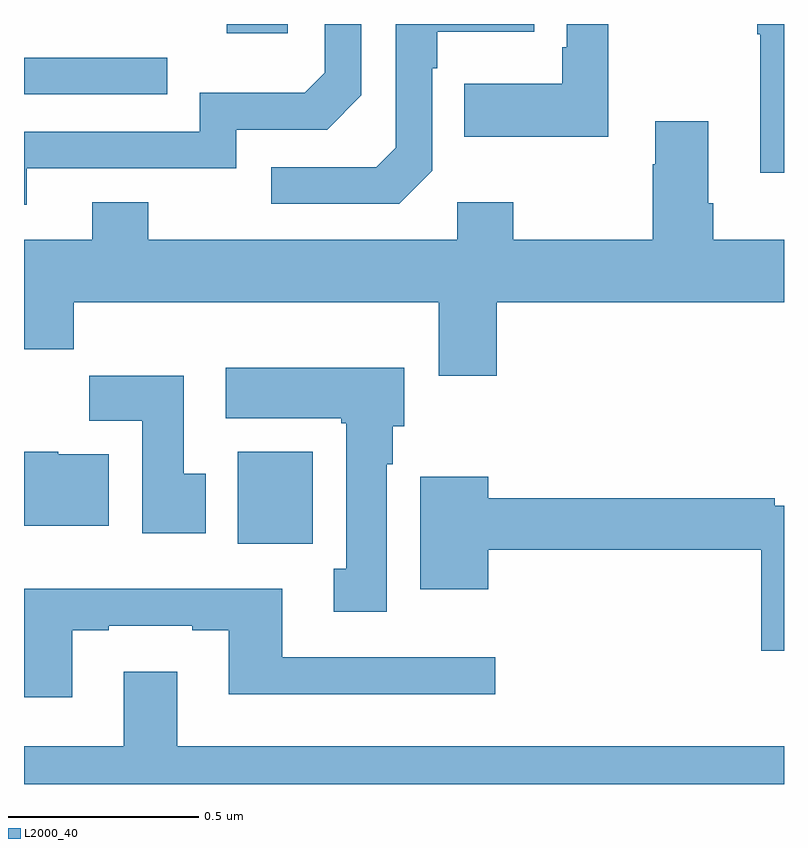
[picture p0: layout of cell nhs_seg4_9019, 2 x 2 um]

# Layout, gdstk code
import gdstk
lib = gdstk.Library(unit=1e-6, precision=1e-09)
def R(c, l, rs):  # rectangles x0, y0, x1, y1
    for r in rs: c.add(gdstk.rectangle(r[:2], r[2:], *l))
def P(c, l, *ps):  # polygons
    for p in ps: c.add(gdstk.Polygon(p, *l))
L2000_40 = (2000, 40)

nhs_seg4_9019 = lib.new_cell('nhs_seg4_9019')
R(nhs_seg4_9019, L2000_40, [(222.563,781.532,222.76,781.774), (222,782.715,222.377,782.811), (222.533,782.876,222.694,782.9)])
P(nhs_seg4_9019, L2000_40, [(222.007,782.52),(222.558,782.52),(222.558,782.622),(222.798,782.622),(222.888,782.712),(222.888,782.9),(222.792,782.9),(222.792,782.772),(222.739,782.719),(222.462,782.719),(222.462,782.616),(222,782.616),(222,782.424),(222.007,782.424)],
  [(223.537,782.9),(223.428,782.9),(223.428,782.839),(223.416,782.839),(223.416,782.743),(223.159,782.743),(223.159,782.603),(223.537,782.603)],
  [(224,782.9),(223.93,782.9),(223.93,782.873),(223.937,782.873),(223.937,782.508),(224,782.508)],
  [(223.074,782.514),(223.074,782.783),(223.087,782.783),(223.087,782.879),(223.343,782.879),(223.343,782.9),(222.978,782.9),(222.978,782.574),(222.927,782.523),(222.651,782.523),(222.651,782.427),(222.987,782.427)],
  [(223.244,782.168),(224,782.168),(224,782.332),(223.814,782.332),(223.814,782.428),(223.801,782.428),(223.801,782.644),(223.661,782.644),(223.661,782.531),(223.654,782.531),(223.654,782.332),(223.287,782.332),(223.287,782.431),(223.14,782.431),(223.14,782.332),(222.327,782.332),(222.327,782.431),(222.179,782.431),(222.179,782.332),(222,782.332),(222,782.044),(222.131,782.044),(222.131,782.168),(223.091,782.168),(223.091,781.974),(223.244,781.974)],
  [(222.955,781.742),(222.97,781.742),(222.97,781.842),(223,781.842),(223,781.996),(222.531,781.996),(222.531,781.862),(222.835,781.862),(222.835,781.849),(222.848,781.849),(222.848,781.466),(222.815,781.466),(222.815,781.353),(222.955,781.353)],
  [(222.478,781.716),(222.421,781.716),(222.421,781.975),(222.172,781.975),(222.172,781.856),(222.311,781.856),(222.311,781.56),(222.478,781.56)],
  [(222.223,781.768),(222.09,781.768),(222.09,781.774),(222,781.774),(222,781.58),(222.223,781.58)],
  [(224,781.632),(223.976,781.632),(223.976,781.652),(223.222,781.652),(223.222,781.708),(223.043,781.708),(223.043,781.412),(223.222,781.412),(223.222,781.516),(223.94,781.516),(223.94,781.251),(224,781.251)],
  [(222.127,781.305),(222.223,781.305),(222.223,781.317),(222.443,781.317),(222.443,781.305),(222.539,781.305),(222.539,781.136),(223.24,781.136),(223.24,781.233),(222.679,781.233),(222.679,781.414),(222,781.414),(222,781.128),(222.127,781.128)],
  [(224,781),(222.403,781),(222.403,781.195),(222.263,781.195),(222.263,781),(222,781),(222,780.9),(224,780.9)])

lib.write_gds('nhs_seg4_9019.gds')
